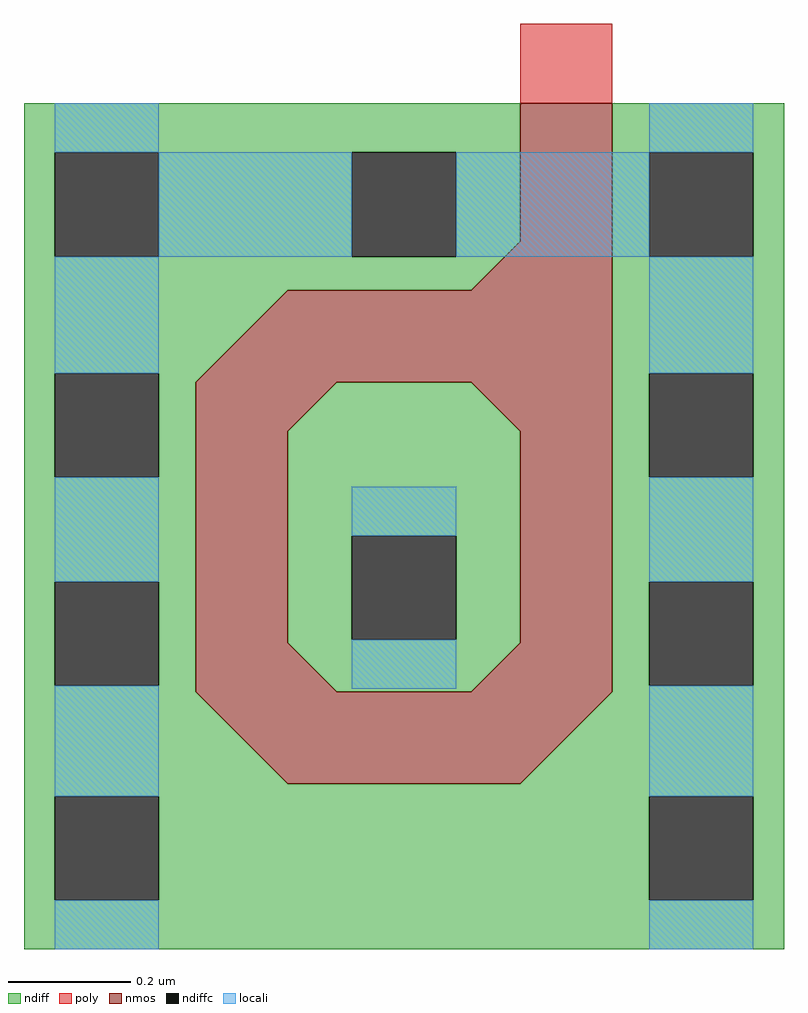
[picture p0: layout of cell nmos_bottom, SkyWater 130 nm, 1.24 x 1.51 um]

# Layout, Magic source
magic
tech sky130A
magscale 1 2
<< nmos >>
tri 146 215 162 231 se
rect 162 215 192 276
tri 56 185 86 215 se
rect 86 185 192 215
rect 56 84 86 185
tri 86 169 102 185 nw
tri 146 169 162 185 ne
tri 86 84 102 100 sw
tri 146 84 162 100 se
rect 162 84 192 185
tri 56 54 86 84 ne
rect 86 54 162 84
tri 162 54 192 84 nw
<< ndiff >>
rect 0 260 162 276
rect 0 226 10 260
rect 44 226 107 260
rect 141 231 162 260
rect 141 226 146 231
rect 0 215 146 226
tri 146 215 162 231 nw
rect 192 260 248 276
rect 192 226 204 260
rect 238 226 248 260
rect 0 188 56 215
rect 0 154 10 188
rect 44 154 56 188
tri 56 185 86 215 nw
rect 192 188 248 226
rect 0 120 56 154
rect 0 86 10 120
rect 44 86 56 120
rect 0 54 56 86
tri 86 169 102 185 se
rect 102 169 146 185
tri 146 169 162 185 sw
rect 86 135 162 169
rect 86 101 107 135
rect 141 101 162 135
rect 86 100 162 101
tri 86 84 102 100 ne
rect 102 84 146 100
tri 146 84 162 100 nw
rect 192 154 204 188
rect 238 154 248 188
rect 192 120 248 154
rect 192 86 204 120
rect 238 86 248 120
tri 56 54 86 84 sw
tri 162 54 192 84 se
rect 192 54 248 86
rect 0 50 248 54
rect 0 16 10 50
rect 44 16 204 50
rect 238 16 248 50
rect 0 0 248 16
<< ndiffc >>
rect 10 226 44 260
rect 107 226 141 260
rect 204 226 238 260
rect 10 154 44 188
rect 10 86 44 120
rect 107 101 141 135
rect 204 154 238 188
rect 204 86 238 120
rect 10 16 44 50
rect 204 16 238 50
<< poly >>
rect 162 276 192 302
<< locali >>
rect 10 260 44 276
rect 204 260 238 276
rect 44 226 107 260
rect 141 226 204 260
rect 10 188 44 226
rect 10 120 44 154
rect 204 188 238 226
rect 10 50 44 86
rect 107 135 141 151
rect 107 85 141 101
rect 204 120 238 154
rect 10 0 44 16
rect 204 50 238 86
rect 204 0 238 16
<< end >>
